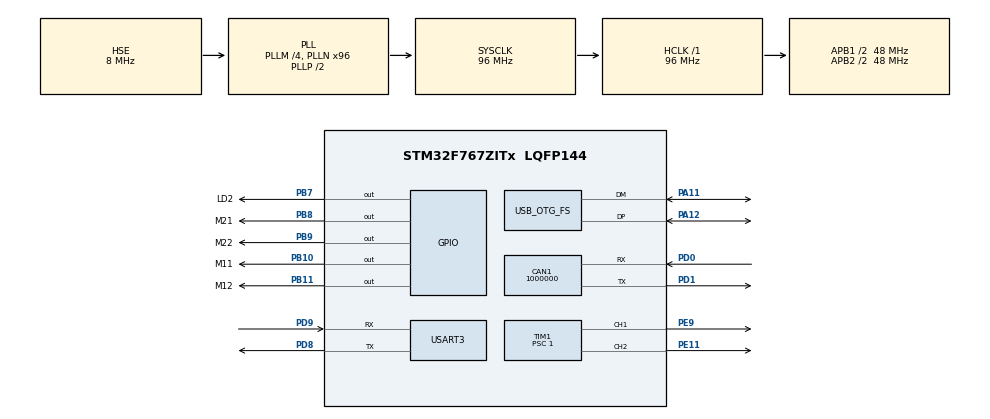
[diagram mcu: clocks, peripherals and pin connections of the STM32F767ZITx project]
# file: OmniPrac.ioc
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CAN1.CalculateBaudRate=1000000
CAN1.CalculateTimeQuantum=333.3333333333333
Dma.Request0=USART3_RX
Dma.Request1=USART3_TX
Dma.USART3_RX.0.Direction=DMA_PERIPH_TO_MEMORY
Dma.USART3_RX.0.FIFOMode=DMA_FIFOMODE_DISABLE
Dma.USART3_RX.0.Instance=DMA1_Stream1
Dma.USART3_RX.0.MemDataAlignment=DMA_MDATAALIGN_BYTE
Dma.USART3_RX.0.MemInc=DMA_MINC_ENABLE
Dma.USART3_RX.0.Mode=DMA_CIRCULAR
Dma.USART3_RX.0.PeriphDataAlignment=DMA_PDATAALIGN_BYTE
Dma.USART3_RX.0.PeriphInc=DMA_PINC_DISABLE
Dma.USART3_RX.0.Priority=DMA_PRIORITY_VERY_HIGH
Dma.USART3_TX.1.Direction=DMA_MEMORY_TO_PERIPH
Dma.USART3_TX.1.FIFOMode=DMA_FIFOMODE_DISABLE
Dma.USART3_TX.1.Instance=DMA1_Stream3
Dma.USART3_TX.1.MemDataAlignment=DMA_MDATAALIGN_BYTE
Dma.USART3_TX.1.MemInc=DMA_MINC_ENABLE
Dma.USART3_TX.1.Mode=DMA_NORMAL
Dma.USART3_TX.1.PeriphDataAlignment=DMA_PDATAALIGN_BYTE
Dma.USART3_TX.1.PeriphInc=DMA_PINC_DISABLE
Dma.USART3_TX.1.Priority=DMA_PRIORITY_VERY_HIGH
FREERTOS.Tasks01=defaultTask,24,3000,StartDefaultTask,Default,NULL,Static,defaultTaskBuffer,defaultTaskControlBlock
Mcu.Family=STM32F7
Mcu.Name=STM32F767ZITx
Mcu.Package=LQFP144
NVIC.CAN1_RX0_IRQn=true\:5\:0\:false\:false\:true\:true\:true\:true\:true
NVIC.CAN1_RX1_IRQn=true\:5\:0\:false\:false\:true\:true\:true\:true\:true
NVIC.CAN1_TX_IRQn=true\:5\:0\:false\:false\:true\:true\:true\:true\:true
NVIC.DMA1_Stream1_IRQn=true\:5\:0\:false\:false\:true\:true\:false\:true\:true
NVIC.DMA1_Stream3_IRQn=true\:5\:0\:false\:false\:true\:true\:false\:true\:true
NVIC.OTG_FS_IRQn=true\:5\:0\:false\:false\:true\:true\:false\:true\:true
NVIC.PriorityGroup=NVIC_PRIORITYGROUP_4
NVIC.TIM2_IRQn=true\:15\:0\:false\:false\:true\:false\:false\:true\:true
NVIC.TimeBase=TIM2_IRQn
NVIC.TimeBaseIP=TIM2
NVIC.USART3_IRQn=true\:5\:0\:false\:false\:true\:true\:true\:true\:true
PA11.Mode=Device_Only
PA11.Signal=USB_OTG_FS_DM
PA12.Mode=Device_Only
PA12.Signal=USB_OTG_FS_DP
PB10.GPIO_Label=M11
PB10.Signal=GPIO_Output
PB11.GPIO_Label=M12
PB11.Signal=GPIO_Output
PB7.GPIO_Label=LD2
PB7.Signal=GPIO_Output
PB8.GPIO_Label=M21
PB8.Signal=GPIO_Output
PB9.GPIO_Label=M22
PB9.Signal=GPIO_Output
PD0.Mode=CAN_Activate
PD0.Signal=CAN1_RX
PD1.Mode=CAN_Activate
PD1.Signal=CAN1_TX
PD8.Mode=Asynchronous
PD8.Signal=USART3_TX
PD9.Mode=Asynchronous
PD9.Signal=USART3_RX
PE11.Signal=S_TIM1_CH2
PE9.Signal=S_TIM1_CH1
PH0/OSC_IN.Mode=HSE-External-Oscillator
PH0/OSC_IN.Signal=RCC_OSC_IN
PH1/OSC_OUT.Mode=HSE-External-Oscillator
PH1/OSC_OUT.Signal=RCC_OSC_OUT
ProjectManager.HeapSize=0x200
ProjectManager.StackSize=0x400
ProjectManager.TargetToolchain=STM32CubeIDE
RCC.AHBFreq_Value=96000000
RCC.APB1CLKDivider=RCC_HCLK_DIV2
RCC.APB1Freq_Value=48000000
RCC.APB1TimFreq_Value=96000000
RCC.APB2CLKDivider=RCC_HCLK_DIV2
RCC.APB2Freq_Value=48000000
RCC.APB2TimFreq_Value=96000000
RCC.CortexFreq_Value=96000000
RCC.HCLKFreq_Value=96000000
RCC.HSE_VALUE=8000000
RCC.HSI_VALUE=16000000
RCC.LSE_VALUE=32768
RCC.PLLM=4
RCC.PLLN=96
RCC.PLLQ=4
RCC.SYSCLKFreq_VALUE=96000000
RCC.SYSCLKSource=RCC_SYSCLKSOURCE_PLLCLK
RCC.USBFreq_Value=48000000
RCC.VCOOutputFreq_Value=192000000
SH.S_TIM1_CH1.0=TIM1_CH1,PWM Generation1 CH1
SH.S_TIM1_CH2.0=TIM1_CH2,PWM Generation2 CH2
TIM1.Channel-PWM\ Generation1\ CH1=TIM_CHANNEL_1
TIM1.Channel-PWM\ Generation2\ CH2=TIM_CHANNEL_2
TIM1.Period=500
TIM1.Prescaler=1
USART3.VirtualMode-Asynchronous=VM_ASYNC
USB_DEVICE.CLASS_NAME_FS=CDC
USB_DEVICE.VirtualMode-CDC_FS=Cdc
USB_DEVICE.VirtualModeFS=Cdc_FS
USB_OTG_FS.VirtualMode=Device_Only
VP_FREERTOS_VS_CMSIS_V2.Mode=CMSIS_V2
VP_SYS_VS_tim2.Mode=TIM2
VP_USB_DEVICE_VS_USB_DEVICE_CDC_FS.Mode=CDC_FS
board=custom

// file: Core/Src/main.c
/* USER CODE BEGIN Header */
/**
  ******************************************************************************
  * @file           : main.c
  * @brief          : Main program body
  ******************************************************************************
  * @attention
  *
  * Copyright (c) 2023 STMicroelectronics.
  * All rights reserved.
  *
  * This software is licensed under terms that can be found in the LICENSE file
  * in the root directory of this software component.
  * If no LICENSE file comes with this software, it is provided AS-IS.
  *
  ******************************************************************************
  */
/* USER CODE END Header */
#include "main.h"
#include "cmsis_os.h"
#include "can.h"
#include "dma.h"
#include "tim.h"
#include "usart.h"
#include "usb_device.h"
#include "gpio.h"

/* USER CODE BEGIN Includes */
#include "stdio.h"
/* USER CODE END Includes */

void SystemClock_Config(void);
void MX_FREERTOS_Init(void);

/* USER CODE BEGIN 0 */
#ifdef __GNUC__
#define PUTCHAR_PROTOTYPE int __io_putchar(uint8_t ch)
#else
#define PUTCHAR_PROTOTYPE int fputc(int ch, FILE *f)
#endif /* __GNUC__ */

PUTCHAR_PROTOTYPE {
    HAL_UART_Transmit(&huart3, &ch, 1, 500);
    return ch;
}
/* USER CODE END 0 */

int main(void)
{

  /* MCU Configuration--------------------------------------------------------*/

  /* Reset of all peripherals, Initializes the Flash interface and the Systick. */
  HAL_Init();

  /* Configure the system clock */
  SystemClock_Config();

  /* Initialize all configured peripherals */
  MX_GPIO_Init();
  MX_DMA_Init();
  MX_USART3_UART_Init();
  MX_TIM1_Init();
  MX_CAN1_Init();
  /* USER CODE BEGIN 2 */
  printf("startProgram\r\n");

	HAL_TIM_PWM_Start(&htim1, TIM_CHANNEL_1);
	HAL_TIM_PWM_Start(&htim1, TIM_CHANNEL_2);

	__HAL_TIM_SET_COMPARE(&htim1, TIM_CHANNEL_1, 0);
	__HAL_TIM_SET_COMPARE(&htim1, TIM_CHANNEL_2, 0);

	HAL_GPIO_WritePin(GPIOB, M11_Pin, GPIO_PIN_SET);
	HAL_GPIO_WritePin(GPIOB, M12_Pin, GPIO_PIN_RESET);

	HAL_GPIO_WritePin(GPIOB, M21_Pin, GPIO_PIN_SET);
	HAL_GPIO_WritePin(GPIOB, M22_Pin, GPIO_PIN_RESET);
  /* USER CODE END 2 */

  /* Init scheduler */
  osKernelInitialize();  /* Call init function for freertos objects (in freertos.c) */
  MX_FREERTOS_Init();

  /* Start scheduler */
  osKernelStart();

  /* We should never get here as control is now taken by the scheduler */
  /* Infinite loop */
  while (1)
  {

  }
}

void SystemClock_Config(void)
{
  RCC_OscInitTypeDef RCC_OscInitStruct = {0};
  RCC_ClkInitTypeDef RCC_ClkInitStruct = {0};

  /** Configure the main internal regulator output voltage
  */
  __HAL_RCC_PWR_CLK_ENABLE();
  __HAL_PWR_VOLTAGESCALING_CONFIG(PWR_REGULATOR_VOLTAGE_SCALE3);

  /** Initializes the RCC Oscillators according to the specified parameters
  * in the RCC_OscInitTypeDef structure.
  */
  RCC_OscInitStruct.OscillatorType = RCC_OSCILLATORTYPE_HSE;
  RCC_OscInitStruct.HSEState = RCC_HSE_ON;
  RCC_OscInitStruct.PLL.PLLState = RCC_PLL_ON;
  RCC_OscInitStruct.PLL.PLLSource = RCC_PLLSOURCE_HSE;
  RCC_OscInitStruct.PLL.PLLM = 4;
  RCC_OscInitStruct.PLL.PLLN = 96;
  RCC_OscInitStruct.PLL.PLLP = RCC_PLLP_DIV2;
  RCC_OscInitStruct.PLL.PLLQ = 4;
  RCC_OscInitStruct.PLL.PLLR = 2;
  if (HAL_RCC_OscConfig(&RCC_OscInitStruct) != HAL_OK)
  {
    Error_Handler();
  }

  /** Activate the Over-Drive mode
  */
  if (HAL_PWREx_EnableOverDrive() != HAL_OK)
  {
    Error_Handler();
  }

  /** Initializes the CPU, AHB and APB buses clocks
  */
  RCC_ClkInitStruct.ClockType = RCC_CLOCKTYPE_HCLK|RCC_CLOCKTYPE_SYSCLK
                              |RCC_CLOCKTYPE_PCLK1|RCC_CLOCKTYPE_PCLK2;
  RCC_ClkInitStruct.SYSCLKSource = RCC_SYSCLKSOURCE_PLLCLK;
  RCC_ClkInitStruct.AHBCLKDivider = RCC_SYSCLK_DIV1;
  RCC_ClkInitStruct.APB1CLKDivider = RCC_HCLK_DIV2;
  RCC_ClkInitStruct.APB2CLKDivider = RCC_HCLK_DIV2;

  if (HAL_RCC_ClockConfig(&RCC_ClkInitStruct, FLASH_LATENCY_3) != HAL_OK)
  {
    Error_Handler();
  }
}

void HAL_TIM_PeriodElapsedCallback(TIM_HandleTypeDef *htim)
{
  if (htim->Instance == TIM2) {
    HAL_IncTick();
  }
}

void Error_Handler(void)
{
  __disable_irq();
  while (1)
  {
  }
}
